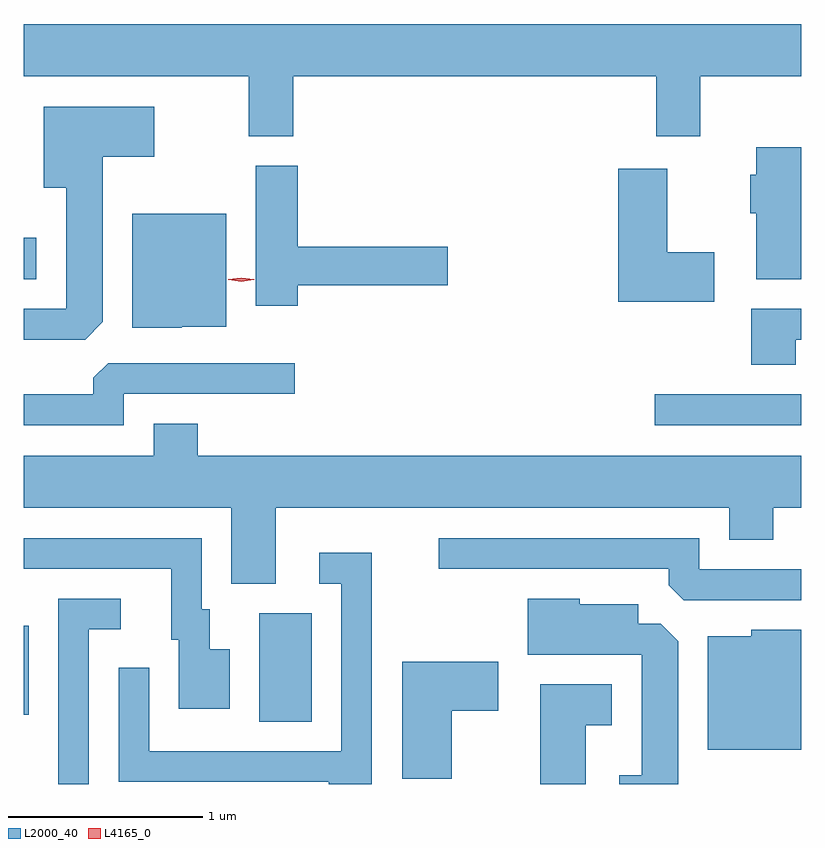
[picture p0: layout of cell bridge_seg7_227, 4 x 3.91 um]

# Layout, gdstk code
import gdstk
lib = gdstk.Library(unit=1e-6, precision=1e-09)
def R(c, l, rs):  # rectangles x0, y0, x1, y1
    for r in rs: c.add(gdstk.rectangle(r[:2], r[2:], *l))
def P(c, l, *ps):  # polygons
    for p in ps: c.add(gdstk.Polygon(p, *l))
L2000_40 = (2000, 40)
L4165_0 = (4165, 0)

bridge_seg7_227 = lib.new_cell('bridge_seg7_227')
R(bridge_seg7_227, L2000_40, [(1803.336,1693.236,1803.604,1693.794), (1802.123,1693.271,1802.149,1693.729), (1805.368,1694.761,1806.123,1694.919), (1802.123,1695.511,1802.189,1695.724)])
P(bridge_seg7_227, L2000_40, [(1803.509,1696.556),(1805.376,1696.556),(1805.376,1696.246),(1805.604,1696.246),(1805.604,1696.556),(1806.123,1696.556),(1806.123,1696.824),(1802.123,1696.824),(1802.123,1696.556),(1803.281,1696.556),(1803.281,1696.246),(1803.509,1696.246)],
  [(1802.529,1695.292),(1802.529,1696.141),(1802.794,1696.141),(1802.794,1696.399),(1802.226,1696.399),(1802.226,1695.981),(1802.341,1695.981),(1802.341,1695.359),(1802.123,1695.359),(1802.123,1695.201),(1802.439,1695.201)],
  [(1806.123,1696.189),(1805.891,1696.189),(1805.891,1696.049),(1805.861,1696.049),(1805.861,1695.851),(1805.891,1695.851),(1805.891,1695.511),(1806.123,1695.511)],
  [(1803.534,1695.481),(1804.304,1695.481),(1804.304,1695.679),(1803.534,1695.679),(1803.534,1696.094),(1803.316,1696.094),(1803.316,1695.376),(1803.534,1695.376)],
  [(1805.674,1695.649),(1805.434,1695.649),(1805.434,1696.079),(1805.181,1696.079),(1805.181,1695.396),(1805.674,1695.396)],
  [(1802.935,1695.266),(1803.164,1695.266),(1803.164,1695.849),(1802.681,1695.849),(1802.681,1695.261),(1802.935,1695.261)],
  [(1806.094,1695.201),(1806.123,1695.201),(1806.123,1695.359),(1805.866,1695.359),(1805.866,1695.071),(1806.094,1695.071)],
  [(1802.639,1694.921),(1803.518,1694.921),(1803.518,1695.079),(1802.557,1695.079),(1802.481,1695.004),(1802.481,1694.919),(1802.123,1694.919),(1802.123,1694.761),(1802.639,1694.761)],
  [(1803.019,1694.769),(1802.791,1694.769),(1802.791,1694.604),(1802.123,1694.604),(1802.123,1694.336),(1803.191,1694.336),(1803.191,1693.946),(1803.419,1693.946),(1803.419,1694.336),(1805.751,1694.336),(1805.751,1694.171),(1805.979,1694.171),(1805.979,1694.336),(1806.123,1694.336),(1806.123,1694.604),(1803.019,1694.604)],
  [(1803.184,1693.609),(1803.079,1693.609),(1803.079,1693.814),(1803.039,1693.814),(1803.039,1694.179),(1802.123,1694.179),(1802.123,1694.021),(1802.881,1694.021),(1802.881,1693.656),(1802.921,1693.656),(1802.921,1693.301),(1803.184,1693.301)],
  [(1806.123,1694.019),(1805.599,1694.019),(1805.599,1694.179),(1804.258,1694.179),(1804.258,1694.021),(1805.441,1694.021),(1805.441,1693.937),(1805.517,1693.861),(1806.123,1693.861)],
  [(1803.914,1694.104),(1803.643,1694.104),(1803.643,1693.946),(1803.756,1693.946),(1803.756,1693.084),(1802.769,1693.084),(1802.769,1693.513),(1802.611,1693.513),(1802.611,1692.926),(1803.691,1692.926),(1803.691,1692.915),(1803.914,1692.915)],
  [(1802.459,1693.711),(1802.623,1693.711),(1802.623,1693.869),(1802.301,1693.869),(1802.301,1692.915),(1802.459,1692.915)],
  [(1805.489,1693.649),(1805.399,1693.739),(1805.284,1693.739),(1805.284,1693.839),(1804.984,1693.839),(1804.984,1693.869),(1804.716,1693.869),(1804.716,1693.581),(1805.301,1693.581),(1805.301,1692.959),(1805.186,1692.959),(1805.186,1692.915),(1805.489,1692.915)],
  [(1806.123,1693.709),(1805.866,1693.709),(1805.866,1693.674),(1805.641,1693.674),(1805.641,1693.091),(1806.123,1693.091)],
  [(1804.324,1693.291),(1804.564,1693.291),(1804.564,1693.544),(1804.071,1693.544),(1804.071,1692.941),(1804.324,1692.941)],
  [(1805.014,1693.216),(1805.149,1693.216),(1805.149,1693.429),(1804.781,1693.429),(1804.781,1692.915),(1805.014,1692.915)])
P(bridge_seg7_227, L4165_0, [(1803.242,1695.499),(1803.176,1695.508),(1803.175,1695.509),(1803.176,1695.51),(1803.242,1695.519),(1803.308,1695.51),(1803.308,1695.509),(1803.308,1695.508)])

lib.write_gds('bridge_seg7_227.gds')
